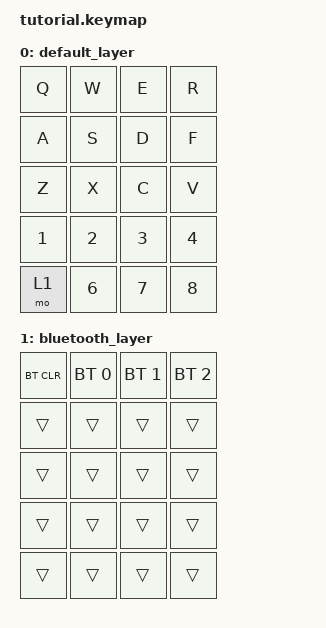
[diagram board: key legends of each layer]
/*
 * Copyright (c) 2020 The ZMK Contributors
 * SPDX-License-Identifier: MIT
 */

#include <dt-bindings/zmk/keys.h>
#include <dt-bindings/zmk/bt.h>
#include <dt-bindings/zmk/hid_usage.h>
#include <dt-bindings/zmk/hid_usage_pages.h>

/ {
    keymap {
        compatible = "zmk,keymap";

        default_layer {
            bindings = <
                &kp Q   &kp W   &kp E   &kp R
                &kp A   &kp S   &kp D   &kp F
                &kp Z   &kp X   &kp C   &kp V
                &kp N1  &kp N2  &kp N3  &kp N4
                &mo 1   &kp N6  &kp N7  &kp N8
            >;
        };

        bluetooth_layer {
            bindings = <
                &bt BT_CLR  &bt BT_SEL 0  &bt BT_SEL 1  &bt BT_SEL 2
                &trans      &trans        &trans        &trans
                &trans      &trans        &trans        &trans
                &trans      &trans        &trans        &trans
                &trans      &trans        &trans        &trans
            >;
        };
    };
};
